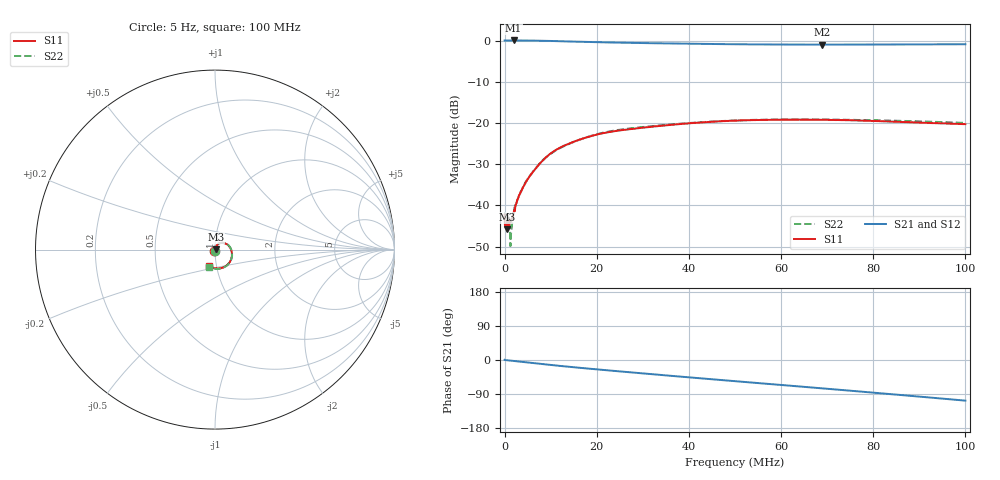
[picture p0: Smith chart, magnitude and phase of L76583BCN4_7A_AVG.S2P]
!Agilent Technologies,E5061B,MY49102235,A.02.00
!Date: Tue Jul 11 17:04:14 2023
!Data & Calibration Information:
!Freq	S11:SOLT2(ON)	S21:SOLT2(ON)	S12:SOLT2(ON)	S22:SOLT2(ON)
# Hz S RI R 50
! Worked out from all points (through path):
!   1600 points, 5 Hz to 100 MHz, reference 50 ohm
!   highest |S21| = 0.02 dB at 1.939 MHz (marker M1); lowest = -1.0 dB at 68.92 MHz (marker M2)
!   group delay of S21, straight-line fit = 2.9 ns
!   lowest |S11| = -45.8 dB at 500.3 kHz (marker M3), VSWR 1.01, Z = 50.5 + j0.208 ohm
!   |S11| at or under -10 dB: start of sweep to end of sweep
!   |S22| runs from -49.9 to -19.1 dB; largest |S21 - S12| = 0.0027
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5  -0.00514 -0.00563  1.002 0.008  1.001 0.0102  -0.00142 -0.00757
500317.7  0.00469 0.00206  1.001 -0.0103  1.002 -0.0101  0.00489 0.000484
938091.3  0.0045 0.00427  1.001 -0.0199  1.001 -0.0193  0.00608 0.00369
1188248  0.00481 0.00457  1.001 -0.0261  1.001 -0.0252  0.003 0.00364
1563482  0.00476 0.00489  1.001 -0.0343  1 -0.0331  0.00356 0.00433
1751099  0.00452 0.00609  1.001 -0.0393  1 -0.0385  0.00391 0.00599
1938717  0.00374 0.00733  1.001 -0.0436  1.001 -0.0428  0.00405 0.00758
2251412  0.00402 0.00787  0.9998 -0.0514  0.9993 -0.05  0.00449 0.00862
2626647  0.00518 0.00969  0.9988 -0.0593  0.9976 -0.059  0.00451 0.01
3189498  0.00589 0.0122  0.9979 -0.0719  0.9975 -0.0717  0.00477 0.0123
4190124  0.00672 0.0161  0.9955 -0.095  0.9952 -0.0945  0.00608 0.0163
5565983  0.00892 0.0213  0.9909 -0.1263  0.9906 -0.1258  0.00862 0.0216
7754851  0.0146 0.0291  0.9797 -0.1759  0.9793 -0.1754  0.0143 0.0297
1.131958e7  0.0302 0.0371  0.9512 -0.2506  0.9509 -0.2503  0.0293 0.037
1.669794e7  0.0529 0.036  0.9007 -0.3465  0.9005 -0.3461  0.0526 0.0361
2.332708e7  0.0753 0.0229  0.8335 -0.4487  0.8332 -0.4483  0.077 0.0219
3.333334e7  0.0915 -0.00721  0.721 -0.5807  0.7209 -0.5802  0.0928 -0.00812
5.003127e7  0.0863 -0.0629  0.5057 -0.7467  0.5056 -0.7464  0.0866 -0.0636
6.672921e7  0.0456 -0.0996  0.2666 -0.8524  0.2669 -0.8521  0.0469 -0.1002
6.891808e7  0.0397 -0.1019  0.2335 -0.8616  0.2336 -0.8615  0.0406 -0.1026
8.33646e7  0.00203 -0.1043  0.00567 -0.8955  0.00578 -0.8953  0.00271 -0.107
1e8  -0.0312 -0.0916  -0.2671 -0.8613  -0.2668 -0.8612  -0.0313 -0.0951
